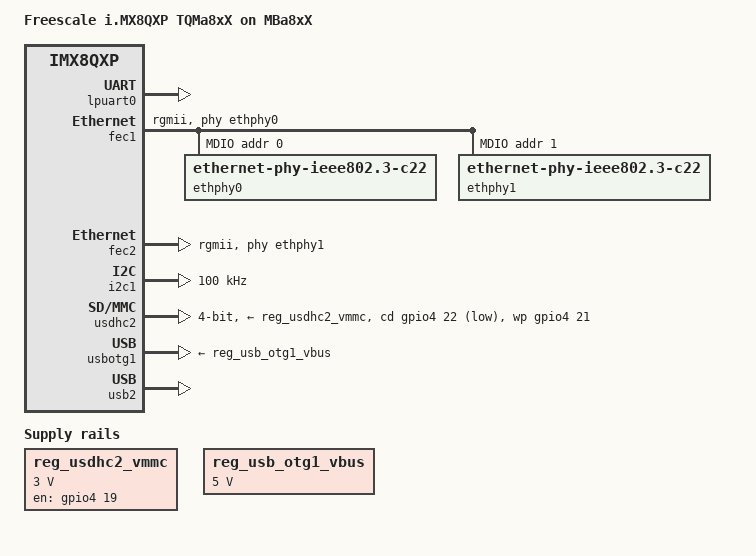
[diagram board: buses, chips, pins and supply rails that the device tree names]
/*
 * Copyright 2017 NXP
 *
 * This program is free software; you can redistribute it and/or
 * modify it under the terms of the GNU General Public License
 * as published by the Free Software Foundation; either version 2
 * of the License, or (at your option) any later version.
 *
 * This program is distributed in the hope that it will be useful,
 * but WITHOUT ANY WARRANTY; without even the implied warranty of
 * MERCHANTABILITY or FITNESS FOR A PARTICULAR PURPOSE.  See the
 * GNU General Public License for more details.
 */

/dts-v1/;

/* First 128KB is for PSCI ATF. */
/* Last 127M is for M4/RPMSG */
/memreserve/ 0x80000000 0x08000000;

#include "fsl-imx8qxp-tqma8xx.dtsi"

/ {
	model = "Freescale i.MX8QXP TQMa8xX on MBa8xX";
	compatible = "tqc,tqma8xx-mba8xx", "fsl,imx8qxp";

	aliases {
	};

	chosen {
		bootargs = "console=ttyLP0,115200 earlycon=lpuart32,0x5a060000,115200";
		stdout-path = &lpuart0;
	};

	regulators {
		reg_usdhc2_vmmc: usdhc2_vmmc {
			compatible = "regulator-fixed";
			regulator-name = "SD1_SPWR";
			regulator-min-microvolt = <3000000>;
			regulator-max-microvolt = <3000000>;
			gpio = <&gpio4 19 GPIO_ACTIVE_HIGH>;
			enable-active-high;
			startup-delay-us = <100>;
			off-on-delay-us = <12000>;
		};

		reg_usb_otg1_vbus: regulator@0 {
			compatible = "regulator-fixed";
			reg = <0>;
			regulator-name = "usb_otg1_vbus";
			regulator-min-microvolt = <5000000>;
			regulator-max-microvolt = <5000000>;
		};

	};
};

&iomuxc {
	pinctrl-names = "default";
	tqma8xx-mba8xx {

		pinctrl_lpuart0: lpuart0grp {
			fsl,pins = <
				SC_P_UART0_RX_ADMA_UART0_RX	0x06000020
				SC_P_UART0_TX_ADMA_UART0_TX	0x06000020
			>;
		};

		pinctrl_fec1: fec1grp {
			fsl,pins = <
				SC_P_ENET0_MDC_CONN_ENET0_MDC			0x06000048
				SC_P_ENET0_MDIO_CONN_ENET0_MDIO			0x06000048
				SC_P_ENET0_RGMII_TX_CTL_CONN_ENET0_RGMII_TX_CTL	0x06000048
				SC_P_ENET0_RGMII_TXC_CONN_ENET0_RGMII_TXC	0x06000048
				SC_P_ENET0_RGMII_TXD0_CONN_ENET0_RGMII_TXD0	0x06000048
				SC_P_ENET0_RGMII_TXD1_CONN_ENET0_RGMII_TXD1	0x06000048
				SC_P_ENET0_RGMII_TXD2_CONN_ENET0_RGMII_TXD2	0x06000048
				SC_P_ENET0_RGMII_TXD3_CONN_ENET0_RGMII_TXD3	0x06000048
				SC_P_ENET0_RGMII_RXC_CONN_ENET0_RGMII_RXC	0x06000048
				SC_P_ENET0_RGMII_RX_CTL_CONN_ENET0_RGMII_RX_CTL	0x06000048
				SC_P_ENET0_RGMII_RXD0_CONN_ENET0_RGMII_RXD0	0x06000048
				SC_P_ENET0_RGMII_RXD1_CONN_ENET0_RGMII_RXD1	0x06000048
				SC_P_ENET0_RGMII_RXD2_CONN_ENET0_RGMII_RXD2	0x06000048
				SC_P_ENET0_RGMII_RXD3_CONN_ENET0_RGMII_RXD3	0x06000048
			>;
		};

		pinctrl_fec2: fec2grp {
			fsl,pins = <
				SC_P_ESAI0_SCKR_CONN_ENET1_RGMII_TX_CTL		0x06000048
				SC_P_ESAI0_FSR_CONN_ENET1_RGMII_TXC		0x06000048
				SC_P_ESAI0_TX4_RX1_CONN_ENET1_RGMII_TXD0	0x06000048
				SC_P_ESAI0_TX5_RX0_CONN_ENET1_RGMII_TXD1	0x06000048
				SC_P_ESAI0_FST_CONN_ENET1_RGMII_TXD2		0x06000048
				SC_P_ESAI0_SCKT_CONN_ENET1_RGMII_TXD3		0x06000048
				SC_P_ESAI0_TX0_CONN_ENET1_RGMII_RXC		0x06000048
				SC_P_SPDIF0_TX_CONN_ENET1_RGMII_RX_CTL		0x06000048
				SC_P_SPDIF0_RX_CONN_ENET1_RGMII_RXD0		0x06000048
				SC_P_ESAI0_TX3_RX2_CONN_ENET1_RGMII_RXD1	0x06000048
				SC_P_ESAI0_TX2_RX3_CONN_ENET1_RGMII_RXD2	0x06000048
				SC_P_ESAI0_TX1_CONN_ENET1_RGMII_RXD3		0x06000048
			>;
		};

		pinctrl_lpi2c1: lpi1cgrp {
			fsl,pins = <
				SC_P_USB_SS3_TC1_ADMA_I2C1_SCL	0x06000020
				SC_P_USB_SS3_TC3_ADMA_I2C1_SDA	0x06000020
			>;
		};

		pinctrl_usdhc2_gpio: usdhc2gpiogrp {
			fsl,pins = <
				SC_P_USDHC1_RESET_B_LSIO_GPIO4_IO19	0x06000021
				SC_P_USDHC1_WP_LSIO_GPIO4_IO21		0x06000021
				SC_P_USDHC1_CD_B_LSIO_GPIO4_IO22	0x06000021
			>;
		};

		pinctrl_usdhc2: usdhc2grp {
			fsl,pins = <
				SC_P_USDHC1_CLK_CONN_USDHC1_CLK		0x06000041
				SC_P_USDHC1_CMD_CONN_USDHC1_CMD		0x06000021
				SC_P_USDHC1_DATA0_CONN_USDHC1_DATA0	0x06000021
				SC_P_USDHC1_DATA1_CONN_USDHC1_DATA1	0x06000021
				SC_P_USDHC1_DATA2_CONN_USDHC1_DATA2	0x06000021
				SC_P_USDHC1_DATA3_CONN_USDHC1_DATA3	0x06000021
				SC_P_USDHC1_VSELECT_CONN_USDHC1_VSELECT	0x06000021
			>;
		};

		pinctrl_usdhc2_100mhz: usdhc2grp100mhz {
			fsl,pins = <
				SC_P_USDHC1_CLK_CONN_USDHC1_CLK		0x06000040
				SC_P_USDHC1_CMD_CONN_USDHC1_CMD		0x06000020
				SC_P_USDHC1_DATA0_CONN_USDHC1_DATA0	0x06000020
				SC_P_USDHC1_DATA1_CONN_USDHC1_DATA1	0x06000020
				SC_P_USDHC1_DATA2_CONN_USDHC1_DATA2	0x06000020
				SC_P_USDHC1_DATA3_CONN_USDHC1_DATA3	0x06000020
				SC_P_USDHC1_VSELECT_CONN_USDHC1_VSELECT	0x06000020
			>;
		};

		pinctrl_usdhc2_200mhz: usdhc2grp200mhz {
			fsl,pins = <
				SC_P_USDHC1_CLK_CONN_USDHC1_CLK		0x06000040
				SC_P_USDHC1_CMD_CONN_USDHC1_CMD		0x06000020
				SC_P_USDHC1_DATA0_CONN_USDHC1_DATA0	0x06000020
				SC_P_USDHC1_DATA1_CONN_USDHC1_DATA1	0x06000020
				SC_P_USDHC1_DATA2_CONN_USDHC1_DATA2	0x06000020
				SC_P_USDHC1_DATA3_CONN_USDHC1_DATA3	0x06000020
				SC_P_USDHC1_VSELECT_CONN_USDHC1_VSELECT	0x06000020
			>;
		};

	};
};

&lpuart0 {
	pinctrl-names = "default";
	pinctrl-0 = <&pinctrl_lpuart0>;
	status = "okay";
};

&gpio0 {
	status = "okay";
};

&gpio1 {
	status = "okay";
};

&gpio3 {
	status = "okay";
};

&gpio4 {
	status = "okay";
};

&fec1 {
	pinctrl-names = "default";
	pinctrl-0 = <&pinctrl_fec1>;
	phy-mode = "rgmii";
	phy-handle = <&ethphy0>;
	fsl,ar8031-phy-fixup;
	fsl,magic-packet;
	status = "okay";

	mdio {
		#address-cells = <1>;
		#size-cells = <0>;

		ethphy0: ethernet-phy@0 {
			compatible = "ethernet-phy-ieee802.3-c22";
			reg = <0>;
		};

		ethphy1: ethernet-phy@1 {
			compatible = "ethernet-phy-ieee802.3-c22";
			reg = <1>;
		};
	};
};

&fec2 {
	pinctrl-names = "default";
	pinctrl-0 = <&pinctrl_fec2>;
	phy-mode = "rgmii";
	phy-handle = <&ethphy1>;
	fsl,ar8031-phy-fixup;
	fsl,magic-packet;
	status = "okay";
};

&i2c1 {
	#address-cells = <1>;
	#size-cells = <0>;
	clock-frequency = <100000>;
	pinctrl-names = "default";
	pinctrl-0 = <&pinctrl_lpi2c1>;
	status = "okay";
};

&usdhc2 {
	pinctrl-names = "default", "state_100mhz", "state_200mhz";
	pinctrl-0 = <&pinctrl_usdhc2>, <&pinctrl_usdhc2_gpio>;
	pinctrl-1 = <&pinctrl_usdhc2_100mhz>, <&pinctrl_usdhc2_gpio>;
	pinctrl-2 = <&pinctrl_usdhc2_200mhz>, <&pinctrl_usdhc2_gpio>;
	bus-width = <4>;
	cd-gpios = <&gpio4 22 GPIO_ACTIVE_LOW>;
	wp-gpios = <&gpio4 21 GPIO_ACTIVE_HIGH>;
	vmmc-supply = <&reg_usdhc2_vmmc>;
	status = "okay";
};

&usbotg1 {
	vbus-supply = <&reg_usb_otg1_vbus>;
	srp-disable;
	hnp-disable;
	adp-disable;
	power-polarity-active-high;
	disable-over-current;
	status = "okay";
};

&usb2 {
	status = "okay";
};
